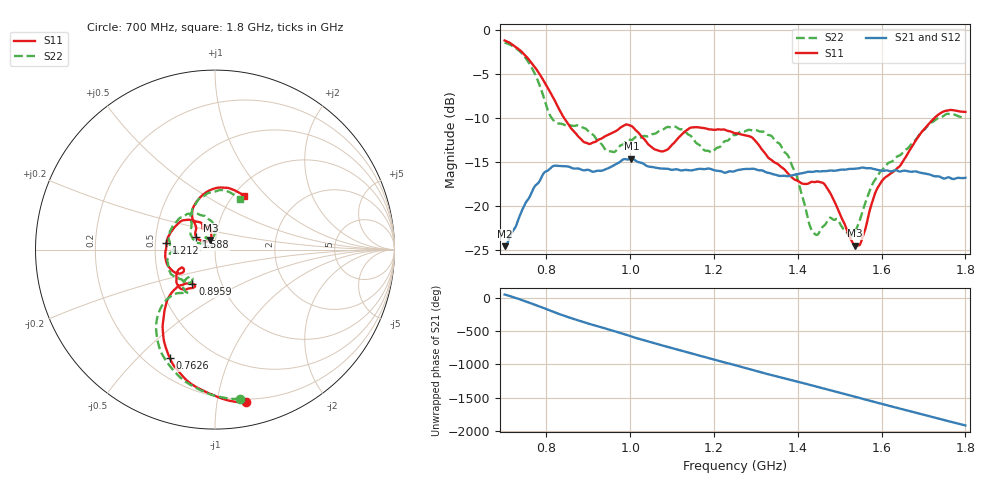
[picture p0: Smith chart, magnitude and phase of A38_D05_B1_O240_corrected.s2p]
! Created with skrf 1.9.0 (http://scikit-rf.org).
# Hz S RI R 50.0
!freq ReS11 ImS11 ReS21 ImS21 ReS12 ImS12 ReS22 ImS22
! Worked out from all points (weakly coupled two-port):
!   1601 points, 700 MHz to 1.8 GHz, reference 50 ohm
!   highest |S21| = -14.60 dB at 1.002 GHz (marker M1); lowest = -24.5 dB at 700 MHz (marker M2)
!   lowest |S11| = -24.5 dB at 1.537 GHz (marker M3), VSWR 1.13, Z = 47.2 + j5.09 ohm
!   |S11| at or under -10 dB: 841.9 MHz to 1.726 GHz (884.3 MHz wide, 68.9 % of centre)
!   |S22| runs from -23.4 to -1.5 dB; largest |S21 - S12| = 0.0034
!   S11 on the Smith chart (normalised r, x): 700 MHz: 0.17, -1.21; 762.6 MHz: 0.30, -0.63; 895.9 MHz: 0.73, -0.29; 1.212 GHz: 0.57, +0.04; 1.588 GHz: 0.80, +0.11; 1.8 GHz: 1.12, +0.76
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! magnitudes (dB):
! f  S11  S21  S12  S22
! 700 MHz  -1.2  -24.5  -24.3  -1.5
! 762.6 MHz  -3.7  -18.7  -18.6  -4.1
! 815.5 MHz  -7.7  -15.5  -15.5  -10.2
! 883.6 MHz  -12.5  -15.9  -15.8  -11.0
! 895.9 MHz  -12.8  -15.9  -16.0  -11.3
! 947.5 MHz  -11.9  -15.7  -15.7  -13.8
! 1.002 GHz  -10.9  -14.6  -14.7  -12.5
! 1.067 GHz  -13.7  -15.7  -15.6  -11.5
! 1.144 GHz  -11.1  -15.9  -15.9  -12.0
! 1.212 GHz  -11.3  -16.0  -16.0  -13.3
! 1.25 GHz  -11.7  -16.0  -15.9  -11.9
! 1.301 GHz  -12.7  -15.9  -15.8  -11.4
! 1.357 GHz  -15.4  -16.6  -16.5  -13.0
! 1.396 GHz  -17.0  -16.4  -16.4  -16.4
! 1.434 GHz  -17.2  -16.1  -16.1  -22.7
! 1.468 GHz  -17.8  -16.0  -16.0  -21.9
! 1.537 GHz  -24.5  -15.7  -15.7  -22.8
! 1.552 GHz  -23.8  -15.6  -15.7  -20.9
! 1.588 GHz  -18.1  -15.9  -15.9  -16.7
! 1.617 GHz  -16.5  -16.0  -16.0  -15.1
! 1.733 GHz  -9.7  -16.6  -16.6  -10.1
! 1.8 GHz  -9.3  -16.8  -16.8  -10.1
